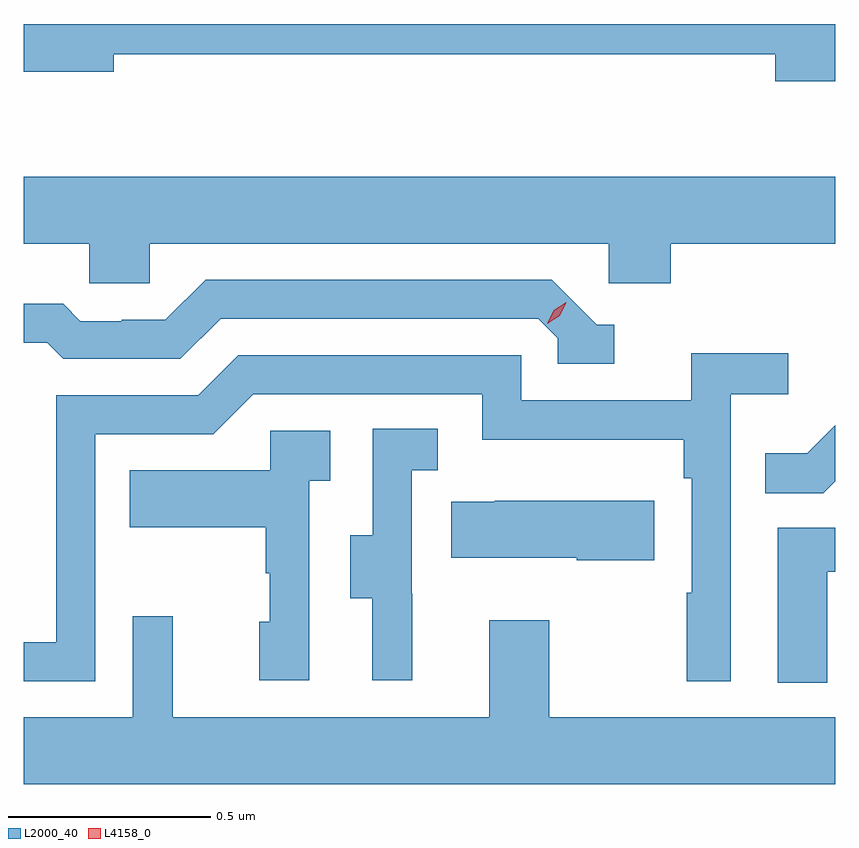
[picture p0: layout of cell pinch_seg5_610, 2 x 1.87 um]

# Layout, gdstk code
import gdstk
lib = gdstk.Library(unit=1e-6, precision=1e-09)
def P(c, l, *ps):  # polygons
    for p in ps: c.add(gdstk.Polygon(p, *l))
L2000_40 = (2000, 40)
L4158_0 = (4158, 0)

pinch_seg5_610 = lib.new_cell('pinch_seg5_610')
P(pinch_seg5_610, L2000_40, [(1108.56,863.961),(1106.56,863.961),(1106.56,863.843),(1106.782,863.843),(1106.782,863.886),(1108.412,863.886),(1108.412,863.82),(1108.56,863.82)],
  [(1106.871,863.42),(1108.002,863.42),(1108.002,863.322),(1108.154,863.322),(1108.154,863.42),(1108.56,863.42),(1108.56,863.584),(1106.56,863.584),(1106.56,863.42),(1106.721,863.42),(1106.721,863.322),(1106.871,863.322)],
  [(1108.015,863.22),(1107.972,863.22),(1107.861,863.331),(1107.008,863.331),(1106.909,863.232),(1106.802,863.232),(1106.802,863.229),(1106.699,863.229),(1106.657,863.272),(1106.56,863.272),(1106.56,863.175),(1106.618,863.175),(1106.657,863.136),(1106.946,863.136),(1107.045,863.235),(1107.828,863.235),(1107.876,863.187),(1107.876,863.124),(1108.015,863.124)],
  [(1106.736,862.95),(1107.027,862.95),(1107.126,863.049),(1107.69,863.049),(1107.69,862.937),(1108.186,862.937),(1108.186,862.841),(1108.206,862.841),(1108.206,862.559),(1108.194,862.559),(1108.194,862.341),(1108.302,862.341),(1108.302,863.048),(1108.444,863.048),(1108.444,863.15),(1108.205,863.15),(1108.205,863.034),(1107.786,863.034),(1107.786,863.145),(1107.089,863.145),(1106.99,863.046),(1106.64,863.046),(1106.64,862.437),(1106.56,862.437),(1106.56,862.341),(1106.736,862.341)],
  [(1108.56,862.834),(1108.56,862.972),(1108.491,862.903),(1108.387,862.903),(1108.387,862.804),(1108.53,862.804)],
  [(1107.518,862.557),(1107.516,862.557),(1107.516,862.861),(1107.58,862.861),(1107.58,862.964),(1107.42,862.964),(1107.42,862.701),(1107.365,862.701),(1107.365,862.546),(1107.419,862.546),(1107.419,862.344),(1107.518,862.344)],
  [(1107.264,862.835),(1107.316,862.835),(1107.316,862.959),(1107.168,862.959),(1107.168,862.861),(1106.821,862.861),(1106.821,862.721),(1107.156,862.721),(1107.156,862.607),(1107.166,862.607),(1107.166,862.488),(1107.14,862.488),(1107.14,862.344),(1107.264,862.344)],
  [(1108.114,862.786),(1107.721,862.786),(1107.721,862.783),(1107.613,862.783),(1107.613,862.646),(1107.923,862.646),(1107.923,862.639),(1108.114,862.639)],
  [(1108.54,862.611),(1108.56,862.611),(1108.56,862.719),(1108.418,862.719),(1108.418,862.337),(1108.54,862.337)],
  [(1108.56,862.252),(1107.855,862.252),(1107.855,862.492),(1107.707,862.492),(1107.707,862.252),(1106.927,862.252),(1106.927,862.501),(1106.829,862.501),(1106.829,862.252),(1106.56,862.252),(1106.56,862.088),(1108.56,862.088)])
P(pinch_seg5_610, L4158_0, [(1107.85,863.222),(1107.85,863.223),(1107.866,863.256),(1107.897,863.275),(1107.897,863.275),(1107.897,863.275),(1107.881,863.242),(1107.85,863.222)])

lib.write_gds('pinch_seg5_610.gds')
